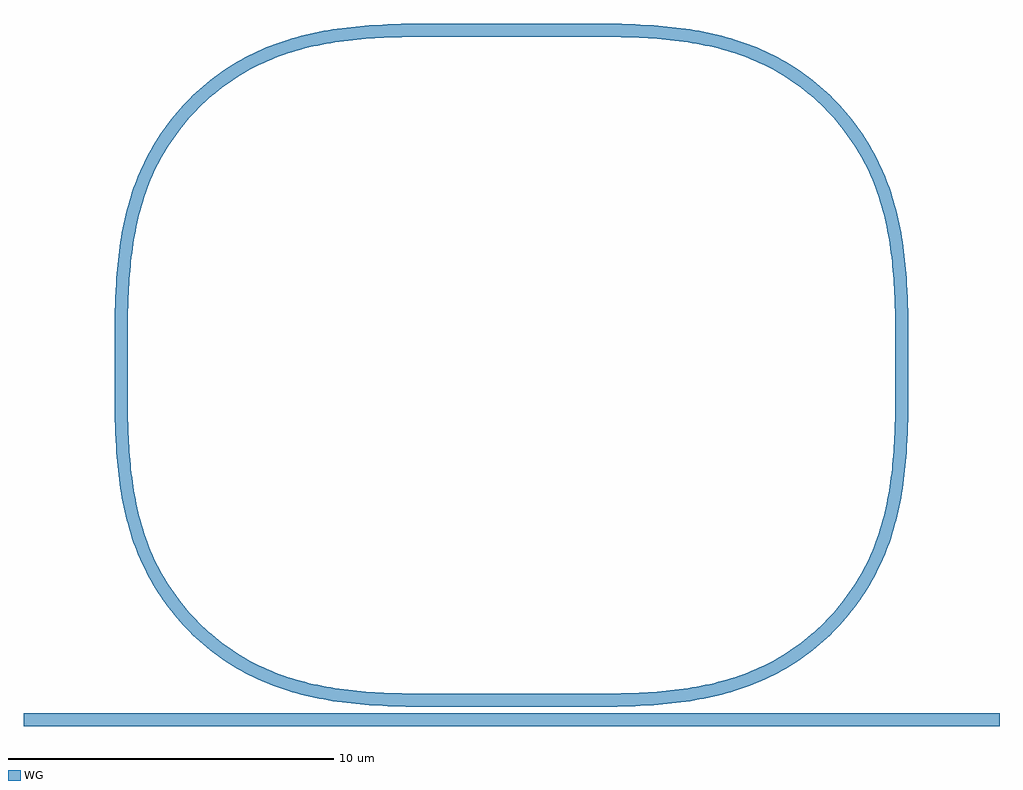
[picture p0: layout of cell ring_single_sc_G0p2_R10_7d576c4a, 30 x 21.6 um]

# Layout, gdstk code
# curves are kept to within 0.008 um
from math import pi, radians
import gdstk
lib = gdstk.Library(unit=1e-6, precision=1e-09)
def R(c, l, rs):  # rectangles x0, y0, x1, y1
    for r in rs: c.add(gdstk.rectangle(r[:2], r[2:], *l))
def P(c, l, *ps):  # polygons
    for p in ps: c.add(gdstk.Polygon(p, *l))
WG = (3, 0)

coupler_ring_sc_g0p2_r1_ = lib.new_cell('coupler_ring_sc_G0p2_R1_48750ebd')
R(coupler_ring_sc_g0p2_r1_, WG, [(-17,-0.2,13,0.2)])
P(coupler_ring_sc_g0p2_r1_, WG, [(-4.416,0.4),(-5.81,0.425),(-6.37,0.456),(-6.93,0.506),(-7.488,0.579),(-7.906,0.652),(-8.458,0.776),(-8.868,0.892),(-9.272,1.029),(-9.798,1.247),(-10.181,1.438),(-10.552,1.65),(-10.91,1.885),(-11.254,2.139),(-11.582,2.414),(-11.993,2.809),(-12.28,3.126),(-12.548,3.459),(-12.796,3.807),(-13.023,4.17),(-13.228,4.545),(-13.411,4.932),(-13.571,5.328),(-13.749,5.868),(-13.858,6.279),(-13.974,6.833),(-14.041,7.251),(-14.108,7.81),(-14.153,8.37),(-14.185,9.069),(-14.2,10.6),(-13.8,10.6),(-13.781,8.944),(-13.745,8.258),(-13.696,7.714),(-13.604,7.038),(-13.528,6.638),(-13.402,6.11),(-13.285,5.722),(-13.148,5.341),(-12.989,4.969),(-12.809,4.607),(-12.608,4.257),(-12.387,3.918),(-12.147,3.594),(-11.887,3.284),(-11.61,2.99),(-11.214,2.624),(-10.9,2.371),(-10.57,2.137),(-10.228,1.922),(-9.873,1.728),(-9.508,1.556),(-9.133,1.404),(-8.749,1.274),(-8.227,1.131),(-7.829,1.045),(-7.427,0.975),(-6.886,0.904),(-6.342,0.855),(-5.656,0.819),(-4.415,0.8),(1.244,0.808),(2.205,0.846),(3.022,0.919),(3.562,0.996),(4.095,1.1),(4.49,1.198),(4.878,1.315),(5.259,1.452),(5.753,1.668),(6.228,1.922),(6.57,2.137),(6.9,2.371),(7.316,2.713),(7.61,2.99),(7.976,3.386),(8.229,3.7),(8.537,4.142),(8.809,4.607),(9.044,5.092),(9.241,5.594),(9.402,6.11),(9.555,6.771),(9.664,7.443),(9.735,8.122),(9.781,8.944),(9.8,10.6),(10.2,10.6),(10.198,9.766),(10.175,8.79),(10.144,8.23),(10.078,7.53),(9.998,6.972),(9.89,6.417),(9.749,5.868),(9.571,5.328),(9.353,4.802),(9.094,4.294),(8.796,3.807),(8.461,3.346),(8.186,3.018),(7.791,2.607),(7.365,2.229),(6.91,1.885),(6.552,1.65),(6.055,1.372),(5.668,1.189),(5.272,1.029),(4.868,0.892),(4.321,0.742),(3.767,0.626),(3.209,0.54),(2.37,0.456),(1.252,0.408)])

straight_l0p6_csxs_so = lib.new_cell('straight_L0p6_CSxs_so')
R(straight_l0p6_csxs_so, WG, [(0,-0.2,0.6,0.2)])

straight_l4_csxs_so = lib.new_cell('straight_L4_CSxs_so')
R(straight_l4_csxs_so, WG, [(0,-0.2,4,0.2)])

bend_euler_r10_a90_p0p5_ = lib.new_cell('bend_euler_R10_A90_P0p5_78d7e92f')
P(bend_euler_r10_a90_p0p5_, WG, [(0,-0.2),(0,0.2),(1.656,0.219),(2.342,0.255),(2.886,0.304),(3.562,0.396),(3.962,0.472),(4.49,0.598),(4.878,0.715),(5.259,0.852),(5.631,1.011),(5.993,1.191),(6.343,1.392),(6.682,1.613),(7.006,1.853),(7.316,2.113),(7.61,2.39),(7.887,2.684),(8.147,2.994),(8.387,3.318),(8.608,3.657),(8.809,4.007),(8.989,4.369),(9.148,4.741),(9.285,5.122),(9.402,5.51),(9.528,6.038),(9.604,6.438),(9.696,7.114),(9.745,7.658),(9.781,8.344),(9.8,10),(10.2,10),(10.185,8.469),(10.153,7.77),(10.108,7.21),(10.041,6.651),(9.974,6.233),(9.858,5.679),(9.749,5.268),(9.571,4.728),(9.411,4.332),(9.228,3.945),(9.023,3.57),(8.796,3.207),(8.461,2.746),(8.186,2.418),(7.893,2.107),(7.582,1.814),(7.254,1.539),(6.793,1.204),(6.43,0.977),(6.055,0.772),(5.668,0.589),(5.272,0.429),(4.732,0.251),(4.321,0.142),(3.767,0.026),(3.349,-0.041),(2.79,-0.108),(2.23,-0.153),(1.531,-0.185)])

ring_single_sc_g0p2_r10_ = lib.new_cell('ring_single_sc_G0p2_R10_7d576c4a')
ring_single_sc_g0p2_r10_.add(gdstk.Reference(coupler_ring_sc_g0p2_r1_, (0,0)))
ring_single_sc_g0p2_r10_.add(gdstk.Reference(straight_l0p6_csxs_so, (-14,10.6), rotation=pi/2))
ring_single_sc_g0p2_r10_.add(gdstk.Reference(straight_l0p6_csxs_so, (10,11.2), rotation=3*pi/2))
ring_single_sc_g0p2_r10_.add(gdstk.Reference(straight_l4_csxs_so, (0,21.2), rotation=pi))
ring_single_sc_g0p2_r10_.add(gdstk.Reference(bend_euler_r10_a90_p0p5_, (-4,21.2), rotation=pi))
ring_single_sc_g0p2_r10_.add(gdstk.Reference(bend_euler_r10_a90_p0p5_, (10,11.2), rotation=pi/2))

lib.write_gds('ring_single_sc_G0p2_R10_7d576c4a.gds')
